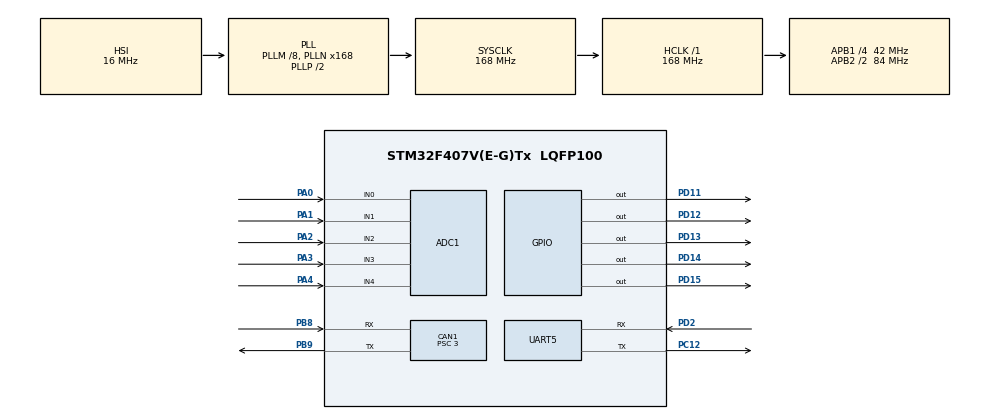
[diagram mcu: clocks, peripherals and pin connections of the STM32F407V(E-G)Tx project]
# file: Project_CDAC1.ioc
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ADC1.Channel-1\#ChannelRegularConversion=ADC_CHANNEL_0
ADC1.Channel-2\#ChannelRegularConversion=ADC_CHANNEL_1
ADC1.Channel-3\#ChannelRegularConversion=ADC_CHANNEL_2
ADC1.Channel-4\#ChannelRegularConversion=ADC_CHANNEL_3
ADC1.Channel-5\#ChannelRegularConversion=ADC_CHANNEL_4
ADC1.ContinuousConvMode=ENABLE
ADC1.NbrOfConversion=5
ADC1.NbrOfConversionFlag=1
ADC1.Rank-1\#ChannelRegularConversion=1
ADC1.Rank-2\#ChannelRegularConversion=2
ADC1.Rank-3\#ChannelRegularConversion=3
ADC1.Rank-4\#ChannelRegularConversion=4
ADC1.Rank-5\#ChannelRegularConversion=5
ADC1.SamplingTime-1\#ChannelRegularConversion=ADC_SAMPLETIME_15CYCLES
ADC1.SamplingTime-2\#ChannelRegularConversion=ADC_SAMPLETIME_28CYCLES
ADC1.SamplingTime-3\#ChannelRegularConversion=ADC_SAMPLETIME_56CYCLES
ADC1.SamplingTime-4\#ChannelRegularConversion=ADC_SAMPLETIME_84CYCLES
ADC1.SamplingTime-5\#ChannelRegularConversion=ADC_SAMPLETIME_112CYCLES
ADC1.ScanConvMode=ENABLE
ADC1.master=1
CAN1.BS1=CAN_BS1_11TQ
CAN1.BS2=CAN_BS2_2TQ
CAN1.CalculateBaudRate=1000000
CAN1.CalculateTimeBit=1000
CAN1.CalculateTimeQuantum=71.42857142857143
CAN1.NART=ENABLE
CAN1.Prescaler=3
Mcu.Family=STM32F4
Mcu.Name=STM32F407V(E-G)Tx
Mcu.Package=LQFP100
NVIC.PriorityGroup=NVIC_PRIORITYGROUP_4
NVIC.TIM1_UP_TIM10_IRQn=true\:15\:0\:false\:false\:true\:false\:true\:true
NVIC.TimeBase=TIM1_UP_TIM10_IRQn
NVIC.TimeBaseIP=TIM10
PA0-WKUP.Signal=ADCx_IN0
PA1.Signal=ADCx_IN1
PA2.Signal=ADCx_IN2
PA3.Signal=ADCx_IN3
PA4.Signal=ADCx_IN4
PB8.Mode=CAN_Activate
PB8.Signal=CAN1_RX
PB9.Mode=CAN_Activate
PB9.Signal=CAN1_TX
PC12.Mode=Asynchronous
PC12.Signal=UART5_TX
PD11.GPIO_ModeDefaultOutputPP=GPIO_MODE_OUTPUT_OD
PD11.GPIO_PuPd=GPIO_NOPULL
PD11.PinState=GPIO_PIN_SET
PD11.Signal=GPIO_Output
PD12.Signal=GPIO_Output
PD13.Signal=GPIO_Output
PD14.Signal=GPIO_Output
PD15.Signal=GPIO_Output
PD2.Mode=Asynchronous
PD2.Signal=UART5_RX
ProjectManager.HeapSize=0x200
ProjectManager.StackSize=0x400
ProjectManager.TargetToolchain=STM32CubeIDE
RCC.48MHZClocksFreq_Value=84000000
RCC.AHBFreq_Value=168000000
RCC.APB1CLKDivider=RCC_HCLK_DIV4
RCC.APB1Freq_Value=42000000
RCC.APB1TimFreq_Value=84000000
RCC.APB2CLKDivider=RCC_HCLK_DIV2
RCC.APB2Freq_Value=84000000
RCC.APB2TimFreq_Value=168000000
RCC.CortexFreq_Value=168000000
RCC.HCLKFreq_Value=168000000
RCC.HSE_VALUE=25000000
RCC.HSI_VALUE=16000000
RCC.LSE_VALUE=32768
RCC.PLLM=8
RCC.PLLN=168
RCC.SYSCLKFreq_VALUE=168000000
RCC.SYSCLKSource=RCC_SYSCLKSOURCE_PLLCLK
RCC.VCOOutputFreq_Value=336000000
SH.ADCx_IN0.0=ADC1_IN0,IN0
SH.ADCx_IN1.0=ADC1_IN1,IN1
SH.ADCx_IN2.0=ADC1_IN2,IN2
SH.ADCx_IN3.0=ADC1_IN3,IN3
SH.ADCx_IN4.0=ADC1_IN4,IN4
UART5.VirtualMode=Asynchronous
VP_SYS_VS_tim10.Mode=TIM10
board=custom

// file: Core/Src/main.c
/* USER CODE BEGIN Header */
/**
  ******************************************************************************
  * @file           : main.c
  * @brief          : Main program body
  ******************************************************************************
  * @attention
  *
  * Copyright (c) 2024 STMicroelectronics.
  * All rights reserved.
  *
  * This software is licensed under terms that can be found in the LICENSE file
  * in the root directory of this software component.
  * If no LICENSE file comes with this software, it is provided AS-IS.
  *
  ******************************************************************************
  */
/* USER CODE END Header */
#include "main.h"

/* USER CODE BEGIN Includes */
#include "main.h"
#include <math.h>
#include "FreeRTOS.h"
#include "task.h"
#include "string.h"
#include "stdio.h"
/* USER CODE END Includes */

/* USER CODE BEGIN PD */
CAN_TxHeaderTypeDef   TxHeader,TxHeader1;
uint8_t               TxData[8];
uint32_t              TxMailbox;
uint16_t OwnID=0x123;
/* USER CODE END PD */

ADC_HandleTypeDef hadc1;

CAN_HandleTypeDef hcan1;

UART_HandleTypeDef huart5;

/* USER CODE BEGIN PV */
char BT_Buff[200];
float T_Vout,T_Vout1, cs_voltage;
float Bat_voltage;
float current;
float R_NTC,R_NTC1;
uint8_t w,x,y,z,n,b,c,d;
uint16_t R_10k = 9990;
uint16_t B_param = 3977;
float T0 = 298.15;
float Temp_K,Temp1_K;
float Temp_C,Temp1_C;
uint16_t thermistor_adc_value,thermistor_adc_value1;
float CS_adc_value;
float volt_adc_value;

TaskHandle_t T1_Handle;
TaskHandle_t T2_Handle;
TaskHandle_t T3_Handle;

/* USER CODE END PV */

void SystemClock_Config(void);
static void MX_GPIO_Init(void);
static void MX_ADC1_Init(void);
static void MX_CAN1_Init(void);
static void MX_UART5_Init(void);
/* USER CODE BEGIN PFP */
#define DWT_CYCCNT ((volatile uint32_t *) 0xE0001000)
/* USER CODE END PFP */

/* USER CODE BEGIN 0 */
static void CAN_TxHeaderInit(void);

void ADC_Select_CH0 (void)
{
	 /** Configure for the selected ADC regular channel its corresponding rank in the sequencer and its sample time.
	  */
	ADC_ChannelConfTypeDef sConfig = {0};

	  sConfig.Channel = ADC_CHANNEL_0;
	  sConfig.Rank = 1;
	  sConfig.SamplingTime = ADC_SAMPLETIME_15CYCLES;
	  if (HAL_ADC_ConfigChannel(&hadc1, &sConfig) != HAL_OK)
	  {
	    Error_Handler();
	  }
}

void ADC_Select_CH1 (void)
{
	ADC_ChannelConfTypeDef sConfig = {0};

	 sConfig.Channel = ADC_CHANNEL_1;
	  sConfig.Rank = 1;
	  sConfig.SamplingTime = ADC_SAMPLETIME_28CYCLES;
	  if (HAL_ADC_ConfigChannel(&hadc1, &sConfig) != HAL_OK)
	  {
	    Error_Handler();
	  }
}

void ADC_Select_CH2 (void)
{
	ADC_ChannelConfTypeDef sConfig = {0};

	 sConfig.Channel = ADC_CHANNEL_2;
	  sConfig.Rank = 1;
	  sConfig.SamplingTime = ADC_SAMPLETIME_56CYCLES;
	  if (HAL_ADC_ConfigChannel(&hadc1, &sConfig) != HAL_OK)
	  {
	    Error_Handler();
	  }
}

void ADC_Select_CH3 (void)
{
	ADC_ChannelConfTypeDef sConfig = {0};

	 sConfig.Channel = ADC_CHANNEL_3;
	  sConfig.Rank = 1;
	  sConfig.SamplingTime = ADC_SAMPLETIME_84CYCLES;
	  if (HAL_ADC_ConfigChannel(&hadc1, &sConfig) != HAL_OK)
	  {
	    Error_Handler();
	  }
}

void ADC_Select_CH4 (void)
{
	ADC_ChannelConfTypeDef sConfig = {0};

	 sConfig.Channel = ADC_CHANNEL_4;
	  sConfig.Rank = 1;
	  sConfig.SamplingTime = ADC_SAMPLETIME_112CYCLES;
	  if (HAL_ADC_ConfigChannel(&hadc1, &sConfig) != HAL_OK)
	  {
	    Error_Handler();
	  }
}

void delay()
{
	uint16_t g,k;

	for(g=1000;g!=0;g--) {

		for(k=1000;k!=0;k--);
	}
}
void BMS_transmitter(void)
{

	if (HAL_CAN_AddTxMessage(&hcan1, &TxHeader, TxData, &TxMailbox) == HAL_OK) {
		  HAL_GPIO_WritePin(GPIOD, GPIO_PIN_12, SET);
			HAL_Delay(100);
			HAL_GPIO_WritePin(GPIOD, GPIO_PIN_12, RESET);
			HAL_Delay(1000);
			HAL_GPIO_WritePin(GPIOD, GPIO_PIN_12, SET);
	    }
}

void Task1(void *a)

{

	for(;;) {
				ADC_Select_CH1();
			  	HAL_ADC_Start(&hadc1);
			  	HAL_ADC_PollForConversion(&hadc1, 1000);
			  	thermistor_adc_value = HAL_ADC_GetValue(&hadc1);
			    HAL_ADC_Stop(&hadc1);
			  	T_Vout = (thermistor_adc_value* 3.3/4095);//*(3.3 /3);// Calculate NTC thermistor resistance
			  	R_NTC = (T_Vout * R_10k) / (3.3 - T_Vout);
			  	Temp_K = (T0 * B_param) / (T0 * log(R_NTC / R_10k) + B_param);   // Calculate temperature in Kelvin
			  	Temp_C = Temp_K - 273.15;    // Convert temperature to Celsius
			  //	TxData[0] = Temp_C;
			  	 delay();

			  	ADC_Select_CH2();
			  	HAL_ADC_Start(&hadc1);
			  	HAL_ADC_PollForConversion(&hadc1, 1000);
			  	thermistor_adc_value1 = HAL_ADC_GetValue(&hadc1);
			  	HAL_ADC_Stop(&hadc1);
			  	T_Vout1 = (thermistor_adc_value1* 3.3/4095);//*(3.3 /3);// Calculate NTC thermistor resistance
			  	R_NTC1 = (T_Vout1 * R_10k) / (3.3 - T_Vout1);
			  	Temp1_K = (T0 * B_param) / (T0 * log(R_NTC1 / R_10k) + B_param);   // Calculate temperature in Kelvin
			  	Temp1_C = Temp1_K - 273.15;    // Convert temperature to Celsius
			  	//	TxData[0] = Temp_C;
			  	 delay();

			  	 ADC_Select_CH3();
			  	 HAL_ADC_Start(&hadc1);
			  	 HAL_ADC_PollForConversion(&hadc1, 1000);
			  	 CS_adc_value = HAL_ADC_GetValue(&hadc1);
			  	 HAL_ADC_Stop(&hadc1);
			  	 cs_voltage= ((CS_adc_value*3.3*2)/4095)*0.92;  //0.96 perfect
			  	 current=(cs_voltage-2.5)/0.066;							 //30A 0.066
			  	 w=cs_voltage;
			  	 x=(cs_voltage-w)*100;
			  	 delay();

			  	 ADC_Select_CH4();
			  	 HAL_ADC_Start(&hadc1);
			  	 HAL_ADC_PollForConversion(&hadc1, 100);
			  	 volt_adc_value = HAL_ADC_GetValue(&hadc1);
			  	HAL_ADC_Stop(&hadc1);
			  	Bat_voltage = (volt_adc_value/4095)*12;   //13.3
			  	y=Bat_voltage;
			  	z=(Bat_voltage-y)*100;
			  	 delay();

			           if(Temp_C > 34 || Temp1_C > 34 || Bat_voltage < 9 || current > 2) {
			           			/* when the Batter  Bank Exceeds the Temp > 37 c and Bat_voltasge is below 9V & Bat_current > 2A */
			           			/*Relay Switch off tghe Battery supply */
			           				//   delay();
			           				HAL_GPIO_WritePin(GPIOD, GPIO_PIN_11, RESET);
			           			   HAL_GPIO_WritePin(GPIOD, GPIO_PIN_14, SET);
			           			}
			           			else if(Temp_C < 32 && Temp1_C < 34 && Bat_voltage > 9 && current < 2)
			           			{
			           						/* when the Batter  Bank Exceeds the Temp > 37 c and Bat_voltasge is below 9V & Bat_current > 2A */
			           						/*Relay Switch off tghe Battery supply */
			           			HAL_GPIO_WritePin(GPIOD, GPIO_PIN_11, SET);
			           			HAL_GPIO_WritePin(GPIOD, GPIO_PIN_14, RESET);
			          			}
			           vTaskSuspend(T1_Handle);

			 	}
}

void Task2 (void *a) {

	for(;;) {

						  // TxData[0] = (uint8_t)Temp_C;

						   //TxData[1] =(uint8_t) Temp1_C;
	 	           TxData[0] =n;
	 	           TxData[1] =b;
	 	           TxData[2] =c;
	 	           TxData[3] =d;
						   TxData[4] =w;
						   TxData[5] =x;
						   TxData[6] =y;
						   TxData[7] =z;
				       BMS_transmitter();
		           vTaskResume(T3_Handle);
		           vTaskResume(T1_Handle);
		           vTaskSuspend(T2_Handle);
	}
}

void Task3 (void *a) {

	for(;;) {
		sprintf(BT_Buff,"Temperature_T1=%.2f C\nTemperature_T2=%.2f C\nBattery_Current=%.2f A\nBattery_Voltage=%.2f V\n\n",Temp_C,Temp1_C,current,Bat_voltage);
		HAL_UART_Transmit(&huart5, (void *)BT_Buff, strlen(BT_Buff), 100);
					vTaskResume(T1_Handle);
					vTaskResume(T2_Handle);
					vTaskSuspend(T3_Handle);
	}

}

/* USER CODE END 0 */

int main(void)
{

  /* MCU Configuration--------------------------------------------------------*/

  /* Reset of all peripherals, Initializes the Flash interface and the Systick. */
  HAL_Init();

  /* Configure the system clock */
  SystemClock_Config();

  /* Initialize all configured peripherals */
  MX_GPIO_Init();
  MX_ADC1_Init();
  MX_CAN1_Init();
  MX_UART5_Init();
  /* USER CODE BEGIN 2 */

  HAL_CAN_Start(&hcan1);
  CAN_TxHeaderInit();
  	  	*DWT_CYCCNT = *DWT_CYCCNT | (1 << 0);
        SEGGER_SYSVIEW_Conf();
       // SEGGER_SYSVIEW_Start();

       xTaskCreate(Task1, "Battery_Sensosr_Parameters", 200,NULL, 2,&T1_Handle);
       xTaskCreate(Task2, "Data Transmit",200,NULL, 1,&T2_Handle);
       xTaskCreate(Task3, "BLE TX ",200,NULL,1,&T3_Handle);
       vTaskStartScheduler();

  /* USER CODE END 2 */

  /* Infinite loop */
  while (1)
  {

  }
}

void SystemClock_Config(void)
{
  RCC_OscInitTypeDef RCC_OscInitStruct = {0};
  RCC_ClkInitTypeDef RCC_ClkInitStruct = {0};

  /** Configure the main internal regulator output voltage
  */
  __HAL_RCC_PWR_CLK_ENABLE();
  __HAL_PWR_VOLTAGESCALING_CONFIG(PWR_REGULATOR_VOLTAGE_SCALE1);

  /** Initializes the RCC Oscillators according to the specified parameters
  * in the RCC_OscInitTypeDef structure.
  */
  RCC_OscInitStruct.OscillatorType = RCC_OSCILLATORTYPE_HSI;
  RCC_OscInitStruct.HSIState = RCC_HSI_ON;
  RCC_OscInitStruct.HSICalibrationValue = RCC_HSICALIBRATION_DEFAULT;
  RCC_OscInitStruct.PLL.PLLState = RCC_PLL_ON;
  RCC_OscInitStruct.PLL.PLLSource = RCC_PLLSOURCE_HSI;
  RCC_OscInitStruct.PLL.PLLM = 8;
  RCC_OscInitStruct.PLL.PLLN = 168;
  RCC_OscInitStruct.PLL.PLLP = RCC_PLLP_DIV2;
  RCC_OscInitStruct.PLL.PLLQ = 4;
  if (HAL_RCC_OscConfig(&RCC_OscInitStruct) != HAL_OK)
  {
    Error_Handler();
  }

  /** Initializes the CPU, AHB and APB buses clocks
  */
  RCC_ClkInitStruct.ClockType = RCC_CLOCKTYPE_HCLK|RCC_CLOCKTYPE_SYSCLK
                              |RCC_CLOCKTYPE_PCLK1|RCC_CLOCKTYPE_PCLK2;
  RCC_ClkInitStruct.SYSCLKSource = RCC_SYSCLKSOURCE_PLLCLK;
  RCC_ClkInitStruct.AHBCLKDivider = RCC_SYSCLK_DIV1;
  RCC_ClkInitStruct.APB1CLKDivider = RCC_HCLK_DIV4;
  RCC_ClkInitStruct.APB2CLKDivider = RCC_HCLK_DIV2;

  if (HAL_RCC_ClockConfig(&RCC_ClkInitStruct, FLASH_LATENCY_5) != HAL_OK)
  {
    Error_Handler();
  }
}

static void MX_ADC1_Init(void)
{

 // ADC_ChannelConfTypeDef sConfig = {0};

  /** Configure the global features of the ADC (Clock, Resolution, Data Alignment and number of conversion)
  */
  hadc1.Instance = ADC1;
  hadc1.Init.ClockPrescaler = ADC_CLOCK_SYNC_PCLK_DIV4;
  hadc1.Init.Resolution = ADC_RESOLUTION_12B;
  hadc1.Init.ScanConvMode = ENABLE;
  hadc1.Init.ContinuousConvMode = ENABLE;
  hadc1.Init.DiscontinuousConvMode = DISABLE;
  hadc1.Init.ExternalTrigConvEdge = ADC_EXTERNALTRIGCONVEDGE_NONE;
  hadc1.Init.ExternalTrigConv = ADC_SOFTWARE_START;
  hadc1.Init.DataAlign = ADC_DATAALIGN_RIGHT;
  hadc1.Init.NbrOfConversion = 1;
  hadc1.Init.DMAContinuousRequests = DISABLE;
  hadc1.Init.EOCSelection = ADC_EOC_SINGLE_CONV;
  if (HAL_ADC_Init(&hadc1) != HAL_OK)
  {
    Error_Handler();
  }

  /** Configure for the selected ADC regular channel its corresponding rank in the sequencer and its sample time.
//  */
//  sConfig.Channel = ADC_CHANNEL_0;
//  sConfig.Rank = 1;
//  sConfig.SamplingTime = ADC_SAMPLETIME_15CYCLES;
//  if (HAL_ADC_ConfigChannel(&hadc1, &sConfig) != HAL_OK)
//  {
//    Error_Handler();
//  }
//
//  /** Configure for the selected ADC regular channel its corresponding rank in the sequencer and its sample time.
//  */
//  sConfig.Channel = ADC_CHANNEL_1;
//  sConfig.Rank = 2;
//  sConfig.SamplingTime = ADC_SAMPLETIME_28CYCLES;
//  if (HAL_ADC_ConfigChannel(&hadc1, &sConfig) != HAL_OK)
//  {
//    Error_Handler();
//  }
//
//  /** Configure for the selected ADC regular channel its corresponding rank in the sequencer and its sample time.
//  */
//  sConfig.Channel = ADC_CHANNEL_2;
//  sConfig.Rank = 3;
//  sConfig.SamplingTime = ADC_SAMPLETIME_56CYCLES;
//  if (HAL_ADC_ConfigChannel(&hadc1, &sConfig) != HAL_OK)
//  {
//    Error_Handler();
//  }
//
//  /** Configure for the selected ADC regular channel its corresponding rank in the sequencer and its sample time.
//  */
//  sConfig.Channel = ADC_CHANNEL_3;
//  sConfig.Rank = 4;
//  sConfig.SamplingTime = ADC_SAMPLETIME_84CYCLES;
//  if (HAL_ADC_ConfigChannel(&hadc1, &sConfig) != HAL_OK)
//  {
//    Error_Handler();
//  }
//
//  /** Configure for the selected ADC regular channel its corresponding rank in the sequencer and its sample time.
//  */
//  sConfig.Channel = ADC_CHANNEL_4;
//  sConfig.Rank = 5;
//  sConfig.SamplingTime = ADC_SAMPLETIME_112CYCLES;
//  if (HAL_ADC_ConfigChannel(&hadc1, &sConfig) != HAL_OK)
//  {
//    Error_Handler();
//  }

}

static void MX_CAN1_Init(void)
{

  hcan1.Instance = CAN1;
  hcan1.Init.Prescaler = 3;
  hcan1.Init.Mode = CAN_MODE_NORMAL;
  hcan1.Init.SyncJumpWidth = CAN_SJW_1TQ;
  hcan1.Init.TimeSeg1 = CAN_BS1_11TQ;
  hcan1.Init.TimeSeg2 = CAN_BS2_2TQ;
  hcan1.Init.TimeTriggeredMode = DISABLE;
  hcan1.Init.AutoBusOff = DISABLE;
  hcan1.Init.AutoWakeUp = DISABLE;
  hcan1.Init.AutoRetransmission = DISABLE;
  hcan1.Init.ReceiveFifoLocked = DISABLE;
  hcan1.Init.TransmitFifoPriority = DISABLE;
  if (HAL_CAN_Init(&hcan1) != HAL_OK)
  {
    Error_Handler();
  }

}

static void MX_UART5_Init(void)
{

  huart5.Instance = UART5;
  huart5.Init.BaudRate = 9600;
  huart5.Init.WordLength = UART_WORDLENGTH_8B;
  huart5.Init.StopBits = UART_STOPBITS_1;
  huart5.Init.Parity = UART_PARITY_NONE;
  huart5.Init.Mode = UART_MODE_TX_RX;
  huart5.Init.HwFlowCtl = UART_HWCONTROL_NONE;
  huart5.Init.OverSampling = UART_OVERSAMPLING_16;
  if (HAL_UART_Init(&huart5) != HAL_OK)
  {
    Error_Handler();
  }

}

static void MX_GPIO_Init(void)
{
  GPIO_InitTypeDef GPIO_InitStruct = {0};

  /* GPIO Ports Clock Enable */
  __HAL_RCC_GPIOA_CLK_ENABLE();
  __HAL_RCC_GPIOD_CLK_ENABLE();
  __HAL_RCC_GPIOC_CLK_ENABLE();
  __HAL_RCC_GPIOB_CLK_ENABLE();

  /*Configure GPIO pin Output Level */
  HAL_GPIO_WritePin(GPIOD, GPIO_PIN_11, GPIO_PIN_SET);

  /*Configure GPIO pin Output Level */
  HAL_GPIO_WritePin(GPIOD, GPIO_PIN_12|GPIO_PIN_13|GPIO_PIN_14|GPIO_PIN_15, GPIO_PIN_RESET);

  /*Configure GPIO pin : PD11 */
  GPIO_InitStruct.Pin = GPIO_PIN_11;
  GPIO_InitStruct.Mode = GPIO_MODE_OUTPUT_OD;
  GPIO_InitStruct.Pull = GPIO_NOPULL;
  GPIO_InitStruct.Speed = GPIO_SPEED_FREQ_LOW;
  HAL_GPIO_Init(GPIOD, &GPIO_InitStruct);

  /*Configure GPIO pins : PD12 PD13 PD14 PD15 */
  GPIO_InitStruct.Pin = GPIO_PIN_12|GPIO_PIN_13|GPIO_PIN_14|GPIO_PIN_15;
  GPIO_InitStruct.Mode = GPIO_MODE_OUTPUT_PP;
  GPIO_InitStruct.Pull = GPIO_NOPULL;
  GPIO_InitStruct.Speed = GPIO_SPEED_FREQ_LOW;
  HAL_GPIO_Init(GPIOD, &GPIO_InitStruct);

}

/* USER CODE BEGIN 4 */
void CAN_TxHeaderInit(void)
{

	  TxHeader.StdId =OwnID;
	  TxHeader.IDE = CAN_ID_STD;
	  TxHeader.RTR = CAN_RTR_DATA;
	  TxHeader.DLC = 8;

}
/* USER CODE END 4 */

void HAL_TIM_PeriodElapsedCallback(TIM_HandleTypeDef *htim)
{
  if (htim->Instance == TIM10) {
    HAL_IncTick();
  }
}

void Error_Handler(void)
{
  __disable_irq();
  while (1)
  {
  }
}
